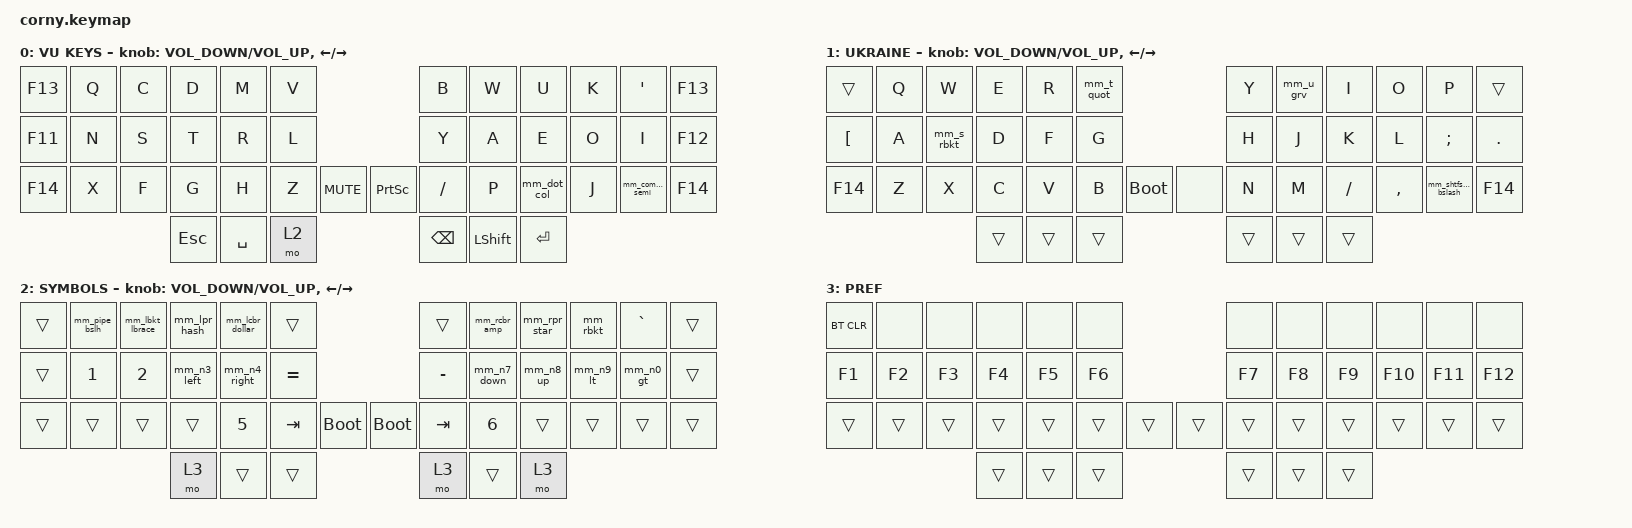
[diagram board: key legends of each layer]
#include <behaviors.dtsi>
#include <dt-bindings/zmk/bt.h>
#include <dt-bindings/zmk/keys.h>

/ {
    behaviors {
        mm_comma_semi: mm_comma_semi {
            compatible = "zmk,behavior-mod-morph";
            label = "MM_COMMA_SEMI";
            bindings = <&kp COMMA>, <&kp SEMI>;

            #binding-cells = <0>;
            mods = <(MOD_LSFT)>;
        };

        mm_dot_col: mm_dot_col {
            compatible = "zmk,behavior-mod-morph";
            label = "MM_DOT_COL";
            bindings = <&kp DOT>, <&kp COLON>;

            #binding-cells = <0>;
            mods = <(MOD_LSFT)>;
        };

        mm_pipe_bslh: mm_pipe_bslh {
            compatible = "zmk,behavior-mod-morph";
            label = "MM_PIPE_BSLH";
            bindings = <&kp PIPE>, <&kp BACKSLASH>;

            #binding-cells = <0>;
            mods = <(MOD_LSFT)>;
        };

        mm_lbkt_lbrace: mm_lbkt_lbrace {
            compatible = "zmk,behavior-mod-morph";
            label = "MM_LBKT_LBRACE";
            bindings = <&kp LBKT>, <&kp LEFT_BRACE>;

            #binding-cells = <0>;
            mods = <(MOD_LSFT)>;
        };

        mm_lpr_hash: mm_lpr_hash {
            compatible = "zmk,behavior-mod-morph";
            label = "MM_LPR_HASH";
            bindings = <&kp LS(N9)>, <&kp LS(N3)>;

            #binding-cells = <0>;
            mods = <(MOD_LSFT)>;
        };

        mm_lcbr_dollar: mm_lcbr_dollar {
            compatible = "zmk,behavior-mod-morph";
            label = "MM_LCBR_DOLLAR";
            bindings = <&kp LS(LBKT)>, <&kp LS(N4)>;

            #binding-cells = <0>;
            mods = <(MOD_LSFT)>;
        };

        mm_rcbr_amp: mm_rcbr_amp {
            compatible = "zmk,behavior-mod-morph";
            label = "MM_RCBR_AMP";
            bindings = <&kp LS(RBKT)>, <&kp LS(N7)>;

            #binding-cells = <0>;
            mods = <(MOD_LSFT)>;
        };

        mm_rpr_star: mm_rpr_star {
            compatible = "zmk,behavior-mod-morph";
            label = "mm_rpr_star";
            bindings = <&kp LS(N0)>, <&kp LS(N8)>;

            #binding-cells = <0>;
            mods = <(MOD_LSFT)>;
        };

        mm_rbkt: mm_rbkt {
            compatible = "zmk,behavior-mod-morph";
            label = "MM_RBKT";
            bindings = <&kp RBKT>, <&kp LS(RBKT)>;

            #binding-cells = <0>;
            mods = <(MOD_LSFT)>;
        };

        mm_n3_left: mm_n3_left {
            compatible = "zmk,behavior-mod-morph";
            label = "MM_N3_LEFT";
            bindings = <&kp N3>, <&kp LEFT>;

            #binding-cells = <0>;
            mods = <(MOD_LSFT)>;
        };

        mm_n4_right: mm_n4_right {
            compatible = "zmk,behavior-mod-morph";
            label = "MM_N4_RIGHT";
            bindings = <&kp N4>, <&kp RIGHT>;

            #binding-cells = <0>;
            mods = <(MOD_LSFT)>;
        };

        mm_n7_down: mm_n7_down {
            compatible = "zmk,behavior-mod-morph";
            label = "MM_N7_DOWN";
            bindings = <&kp N7>, <&kp DOWN>;

            #binding-cells = <0>;
            mods = <(MOD_LSFT)>;
        };

        mm_n8_up: mm_n8_up {
            compatible = "zmk,behavior-mod-morph";
            label = "MM_N8_UP";
            bindings = <&kp N8>, <&kp UP>;

            #binding-cells = <0>;
            mods = <(MOD_LSFT)>;
        };

        mm_n9_lt: mm_n9_lt {
            compatible = "zmk,behavior-mod-morph";
            label = "MM_N9_LT";
            bindings = <&kp N9>, <&kp LESS_THAN>;

            #binding-cells = <0>;
            mods = <(MOD_LSFT)>;
        };

        mm_n0_gt: mm_n0_gt {
            compatible = "zmk,behavior-mod-morph";
            label = "MM_N0_GT";
            bindings = <&kp N0>, <&kp GREATER_THAN>;

            #binding-cells = <0>;
            mods = <(MOD_LSFT)>;
        };

        mm_t_quot: mm_t_quot {
            compatible = "zmk,behavior-mod-morph";
            label = "MM_T_QUOT";
            bindings = <&kp T>, <&kp SINGLE_QUOTE>;

            #binding-cells = <0>;
            mods = <(MOD_LSFT)>;
        };

        mm_s_rbkt: mm_s_rbkt {
            compatible = "zmk,behavior-mod-morph";
            label = "MM_S_RBKT";
            bindings = <&kp S>, <&kp RBKT>;

            #binding-cells = <0>;
            mods = <(MOD_LSFT)>;
        };

        mm_u_grv: mm_u_grv {
            compatible = "zmk,behavior-mod-morph";
            label = "MM_U_GRV";
            bindings = <&kp U>, <&kp GRAVE>;

            #binding-cells = <0>;
            mods = <(MOD_LSFT)>;
        };

        mm_comma_bslh: mm_comma_bslh {
            compatible = "zmk,behavior-mod-morph";
            label = "MM_COMMA_BSLH";
            bindings = <&kp COMMA>, <&kp BSLH>;

            #binding-cells = <0>;
            mods = <(MOD_LSFT)>;
        };

        mm_shtfslash_bslash: mm_shtfslash_bslash {
            compatible = "zmk,behavior-mod-morph";
            label = "MM_SHTFSLASH_BSLASH";
            bindings = <&kp LS(SLASH)>, <&kp BSLH>;

            #binding-cells = <0>;
            mods = <(MOD_LSFT)>;
        };
    };

    macros {
        m_f14_ua: m_f14_ua {
            compatible = "zmk,behavior-macro";
            #binding-cells = <0>;
            bindings = <&kp F14 &to 1>;
            label = "M_F14_UA";
            wait-ms = <30>;
            tap-ms = <40>;
        };

        m_f14_vukeys: m_f14_vukeys {
            compatible = "zmk,behavior-macro";
            #binding-cells = <0>;
            bindings = <&kp F14 &to 0>;
            label = "M_F14_VUKEYS";
            wait-ms = <30>;
            tap-ms = <40>;
        };
    };

    combos {
        compatible = "zmk,combos";

        left_index_home_top_ctrl {
            bindings = <&sk LCTRL>;
            key-positions = <4 16>;
            layers = <0 2>;
            timeout-ms = <50>;
        };

        left_middle_home_top_cmd {
            bindings = <&sk LGUI>;
            key-positions = <15 3>;
            layers = <0 2>;
            timeout-ms = <50>;
        };

        left_ring_home_top_opt {
            bindings = <&sk LALT>;
            key-positions = <14 2>;
            layers = <0 1 2>;
            timeout-ms = <50>;
        };

        right_index_home_top_ctrl {
            bindings = <&sk RCTRL>;
            key-positions = <7 19>;
            layers = <0 2>;
            timeout-ms = <50>;
        };

        right_middle_home_top_cmd {
            bindings = <&sk RGUI>;
            key-positions = <8 20>;
            layers = <0 2>;
            timeout-ms = <50>;
        };

        right_ring_home_top_opt {
            bindings = <&sk RALT>;
            key-positions = <9 21>;
            layers = <0 1 2>;
            timeout-ms = <50>;
        };

        vukeys_to_ua {
            bindings = <&m_f14_ua>;
            key-positions = <40 41>;
            layers = <0>;
        };

        ua_to_vukeys {
            bindings = <&m_f14_vukeys>;
            key-positions = <40 41>;
            layers = <1>;
            timeout-ms = <80>;
        };
    };

    keymap {
        compatible = "zmk,keymap";

        VUKEYS {
            label = " VU KEYS";

            // -------------------------------------------------------------------------------------------------
            // |  TAB |  Q  |  W  |  E  |  R  |  T  |                    |  Y  |  U   |  I  |  O  |  P  | BKSP |
            // | CTRL |  A  |  S  |  D  |  F  |  G  |                    |  H  |  J   |  K  |  L  |  ;  |  '   |
            // | SHFT |  Z  |  X  |  C  |  V  |  B  |  MUTE  |  |        |  N  |  M   |  ,  |  .  |  /  | ESC  |
            //                    | GUI | LWR | SPC |                    | ENT | RSE  | ALT |

            bindings = <
&kp F13  &kp Q  &kp C  &kp D    &kp M      &kp V                         &kp B      &kp W       &kp U        &kp K  &kp SQT         &kp F13
&kp F11  &kp N  &kp S  &kp T    &kp R      &kp L                         &kp Y      &kp A       &kp E        &kp O  &kp I           &kp F12
&kp F14  &kp X  &kp F  &kp G    &kp H      &kp Z  &kp C_MUTE  &kp PSCRN  &kp SLASH  &kp P       &mm_dot_col  &kp J  &mm_comma_semi  &kp F14
                       &kp ESC  &kp SPACE  &mo 2                         &kp BSPC   &kp LSHIFT  &kp RET
            >;

            sensor-bindings =
                <&inc_dec_kp C_VOLUME_DOWN C_VOLUME_UP>,
                <&inc_dec_kp LEFT_ARROW RIGHT_ARROW>;
        };

        UA {
            label = " UKRAINE";

            // ------------------------------------------------------------------------------------------------
            // |  TAB |  1  |  2  |  3  |  4  |  5  |                    |  6  |  7  |  8  |  9  |  0  | BKSP |
            // | BTCLR| BT1 | BT2 | BT3 | BT4 | BT5 |                    | LFT | DWN |  UP | RGT |     |  F12 |
            // | SHFT | F1  | F2  | F3  | F4  | F5  |  boot  |  |        |  F6 | F7  | F8  | F9  | F10 |  F11 |
            //                    | GUI |     | SPC |                    | ENT |     | ALT |

            bindings = <
&trans    &kp Q  &kp W       &kp E   &kp R   &mm_t_quot                      &kp Y   &mm_u_grv  &kp I      &kp O      &kp P                 &trans
&kp LBKT  &kp A  &mm_s_rbkt  &kp D   &kp F   &kp G                           &kp H   &kp J      &kp K      &kp L      &kp SEMI              &kp DOT
&kp F14   &kp Z  &kp X       &kp C   &kp V   &kp B       &bootloader  &none  &kp N   &kp M      &kp SLASH  &kp COMMA  &mm_shtfslash_bslash  &kp F14
                             &trans  &trans  &trans                          &trans  &trans     &trans
            >;

            sensor-bindings =
                <&inc_dec_kp C_VOLUME_DOWN C_VOLUME_UP>,
                <&inc_dec_kp LEFT_ARROW RIGHT_ARROW>;
        };

        SYM {
            label = " SYMBOLS";

            // ------------------------------------------------------------------------------------------------
            // |  TAB |  !  |  @  |  #  |  $  |  %  |                    |  ^  |  &  |  *  |  (  |  )  | BKSP |
            // | CTRL |     |     |     |     |     |                    |  -  |  =  |  [  |  ]  |  \  |  `   |
            // | SHFT |     |     |     |     |     |        |  |  boot  |  _  |  +  |  {  |  }  | "|" |  ~   |
            //                    | GUI |     | SPC |                    | ENT |     | ALT |

            bindings = <
&trans  &mm_pipe_bslh  &mm_lbkt_lbrace  &mm_lpr_hash  &mm_lcbr_dollar  &trans                               &trans     &mm_rcbr_amp  &mm_rpr_star  &mm_rbkt   &kp GRAVE  &trans
&trans  &kp N1         &kp N2           &mm_n3_left   &mm_n4_right     &kp EQUAL                            &kp MINUS  &mm_n7_down   &mm_n8_up     &mm_n9_lt  &mm_n0_gt  &trans
&trans  &trans         &trans           &trans        &kp N5           &kp TAB    &bootloader  &bootloader  &kp TAB    &kp N6        &trans        &trans     &trans     &trans
                                        &mo 3         &trans           &trans                               &mo 3      &trans        &mo 3
            >;

            sensor-bindings =
                <&inc_dec_kp C_VOLUME_DOWN C_VOLUME_UP>,
                <&inc_dec_kp LEFT_ARROW RIGHT_ARROW>;
        };

        PREF {
            label = " PREF";
            bindings = <
&bt BT_CLR  &none   &none   &none   &none   &none                   &none   &none   &none   &none    &none    &none
&kp F1      &kp F2  &kp F3  &kp F4  &kp F5  &kp F6                  &kp F7  &kp F8  &kp F9  &kp F10  &kp F11  &kp F12
&trans      &trans  &trans  &trans  &trans  &trans  &trans  &trans  &trans  &trans  &trans  &trans   &trans   &trans
                            &trans  &trans  &trans                  &trans  &trans  &trans
            >;
        };
    };
};
